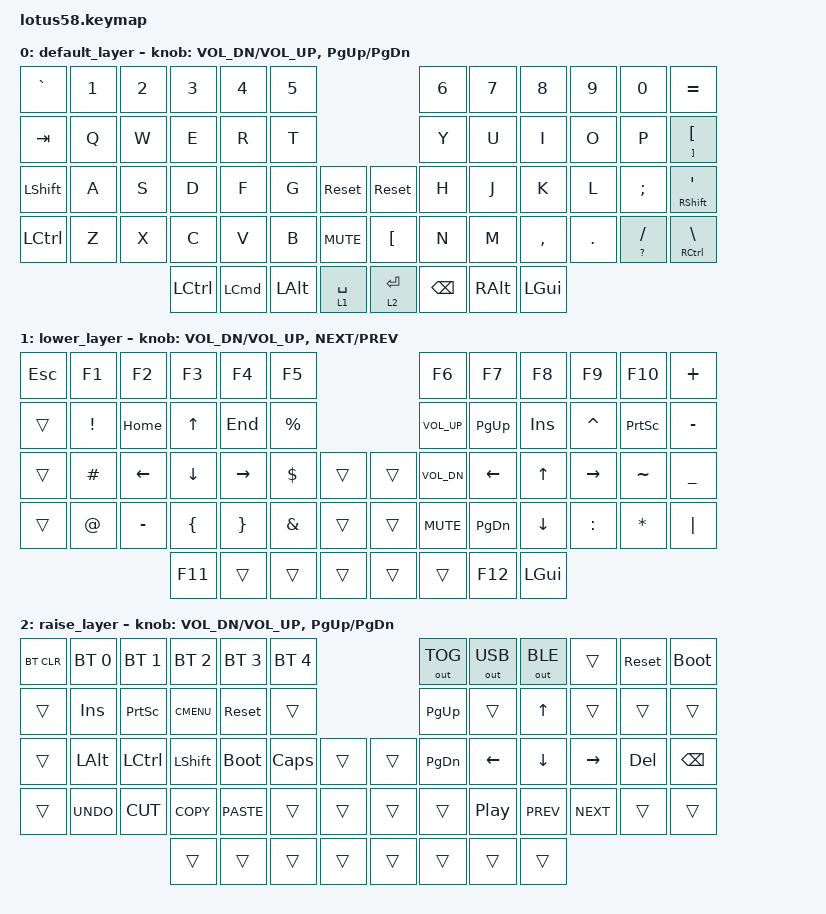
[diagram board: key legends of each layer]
/*
 * Copyright (c) 2022 The ZMK Contributors
 *
 * SPDX-License-Identifier: MIT
 */

#include <behaviors.dtsi>
#include <dt-bindings/zmk/bt.h>
#include <dt-bindings/zmk/keys.h>
#include <dt-bindings/zmk/outputs.h>

/ {
    combos {
        compatible = "zmk,combos";

        combo_dsklg {
            timeout-ms = <100>;
            key-positions = <24 52>;
            layers = <0>;
            bindings = <&kp LGUI>;
        };

        bootloader {
            bindings = <&bootloader>;
            key-positions = <1 2 3 7 6 8>;
        };
    };

    behaviors {
        fofunc: four_ffour {
            compatible = "zmk,behavior-mod-morph";
            #binding-cells = <0>;
            bindings = <&kp N4>, <&kp F4>;

            mods = <(MOD_LALT|MOD_RALT)>;
        };

        sleft: s_left {
            compatible = "zmk,behavior-mod-morph";
            #binding-cells = <0>;
            bindings = <&kp S>, <&kp LEFT>;

            mods = <(MOD_LGUI|MOD_RGUI)>;
        };

        fright: f_right {
            compatible = "zmk,behavior-mod-morph";
            #binding-cells = <0>;
            bindings = <&kp F>, <&kp RIGHT>;

            mods = <(MOD_LGUI|MOD_RGUI)>;
        };
    };

    keymap {
        compatible = "zmk,keymap";

        default_layer {
            //   ------------------------------------------------------------------------------------------------------------
            //  0|  ESC  |  1  |  2  |  3   |  4   |  5   |                     |  6   |  7    |  8    |  9   |   0   |   =   | 11
            // 12|  TAB  |  Q  |  W  |  E   |  R   |  T   |                     |  Y   |  U    |  I    |  O   |   P   |   [   | 23
            // 24|  SFT  |  A  |  S  |  D   |  F   |  G   |  RESET  |  | RESET  |  H   |  J    |  K    |  L   |   ;   | ' SFT | 37
            // 38|  CTRL |  Z  |  X  |  C   |  V   |  B   |  MUTE   |  | PLAY   |  N   |  M    |  ,    |  .   |   /   | \ CTRL| 51
            // 52                    |ENT RS|  ALT | SPACE|DELETE LW|  |ENTER RS| BSPC |  ] LW | RGUI  |                        59

            bindings = <
&kp GRAVE       &kp N1  &kp N2  &kp N3     &kp NUMBER_4      &kp N5                                       &kp N6    &kp N7         &kp N8     &kp N9   &kp N0              &kp EQUAL
&kp TAB         &kp Q   &kp W   &kp E      &kp R             &kp T                                        &kp Y     &kp U          &kp I      &kp O    &kp P               &mt RIGHT_BRACKET LEFT_BRACKET
&kp LEFT_SHIFT  &kp A   &kp S   &kp D      &kp F             &kp G         &sys_reset   &sys_reset        &kp H     &kp J          &kp K      &kp L    &kp SEMI            &mt RSHFT SQT
&kp LCTRL       &kp Z   &kp X   &kp C      &kp V             &kp B         &kp C_MUTE   &kp LEFT_BRACKET  &kp N     &kp M          &kp COMMA  &kp DOT  &mt QUESTION SLASH  &mt RCTRL BSLH
                                &kp LCTRL  &kp LEFT_COMMAND  &kp LEFT_ALT  &lt 1 SPACE  &lt 2 RET         &kp BSPC  &kp RIGHT_ALT  &kp LGUI
            >;

            sensor-bindings = <&inc_dec_kp C_VOL_DN C_VOL_UP &inc_dec_kp PG_UP PG_DN>;
        };

        lower_layer {
            // ------------------------------------------------------------------------------------------------------------
            // | `     |  F1 |  F2 |  F3  |  F4  |  F5  |                   |  F6  |  F7   |  F8   |  F9  |  F10  |  F11  |
            // |       |  !  | HOME|   ^  |  END |  %   |                   | VOL^ |  PGUP |  INS  |  ^   |  PSCR |   -   |
            // |       |  #  |  <- |   v  | ->   |  $   |        |  |       | VOLv |    <- |   ^   |  ->  |   ~   |   _   |
            // |       |  @  |  -  |  (   |  )   |  &   |        |  |       | MUTE |  PGDN |   v   |  :   |   *   |   |   |
            //                     |  F11 |      |      |        |  |       |      |       |  F12  |

            bindings = <
&kp ESCAPE  &kp F1    &kp F2     &kp F3    &kp F4     &kp F5                     &kp F6        &kp F7     &kp F8    &kp F9     &kp F10    &kp PLUS
&trans      &kp EXCL  &kp HOME   &kp UP    &kp END    &kp PRCNT                  &kp C_VOL_UP  &kp PG_UP  &kp INS   &kp CARET  &kp PSCRN  &kp MINUS
&trans      &kp HASH  &kp LEFT   &kp DOWN  &kp RIGHT  &kp DLLR   &trans  &trans  &kp C_VOL_DN  &kp LEFT   &kp UP    &kp RIGHT  &kp TILDE  &kp UNDER
&trans      &kp AT    &kp MINUS  &kp LBRC  &kp RBRC   &kp AMPS   &trans  &trans  &kp C_MUTE    &kp PG_DN  &kp DOWN  &kp COLON  &kp STAR   &kp PIPE
                                 &kp F11   &trans     &trans     &trans  &trans  &trans        &kp F12    &kp LGUI
            >;

            sensor-bindings = <&inc_dec_kp C_VOL_DN C_VOL_UP &inc_dec_kp C_NEXT C_PREV>;
        };

        raise_layer {
            // ------------------------------------------------------------------------------------------------------------
            // |BTCLR| BT1  | BT2  |  BT3  |  BT4  |  BT5 |                |OUTTOG|OUTUSB| OUTBT |      | RESET | FLASH |
            // |     | INS  | PSCR | GUI   | RESET |      |                | PGUP |      |   ^   |      |       |       |
            // |     | ALT  | CTRL | SHIFT | FLASH | CAPS |      |  |      | PGDN |   <- |   v   |  ->  |  DEL  | BSPC  |
            // |     | UNDO | CUT  | COPY  | PASTE |      |      |  |      |      |  |>  |  <|<| | |>|> |       |       |
            //                     |       |       |      |      |  |      |      |      |       |

            bindings = <
&bt BT_CLR  &bt BT_SEL 0  &bt BT_SEL 1  &bt BT_SEL 2  &bt BT_SEL 3  &bt BT_SEL 4                  &out OUT_TOG  &out OUT_USB  &out OUT_BLE  &trans      &sys_reset  &bootloader
&trans      &kp INS       &kp PSCRN     &kp K_CMENU   &sys_reset    &trans                        &kp PG_UP     &trans        &kp UP        &trans      &trans      &trans
&trans      &kp LALT      &kp LCTRL     &kp LSHFT     &bootloader   &kp CLCK      &trans  &trans  &kp PG_DN     &kp LEFT      &kp DOWN      &kp RIGHT   &kp DEL     &kp BSPC
&trans      &kp K_UNDO    &kp K_CUT     &kp K_COPY    &kp K_PASTE   &trans        &trans  &trans  &trans        &kp C_PP      &kp C_PREV    &kp C_NEXT  &trans      &trans
                                        &trans        &trans        &trans        &trans  &trans  &trans        &trans        &trans
            >;

            sensor-bindings = <&inc_dec_kp C_VOL_DN C_VOL_UP &inc_dec_kp PG_UP PG_DN>;
        };
    };
};
